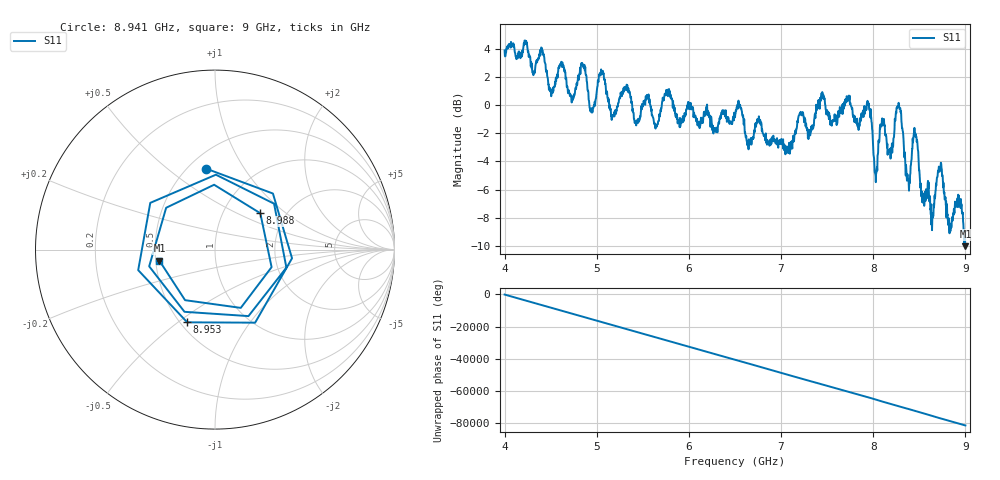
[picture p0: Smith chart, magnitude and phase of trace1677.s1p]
! Created with skrf 1.8.0 (http://scikit-rf.org).
# Hz S RI R 50.0
!freq ReS11 ImS11
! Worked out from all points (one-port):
!   1601 points, 4 GHz to 9 GHz, reference 50 ohm
!   lowest |S11| = -10.0 dB at 9 GHz (marker M1), VSWR 1.92, Z = 26.2 - j3.62 ohm
!   |S11| at or under -10 dB: 8.999861 GHz to end of sweep
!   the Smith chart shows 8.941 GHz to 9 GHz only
!   S11 on the Smith chart (normalised r, x): 8.941 GHz: 0.61, +0.69; 8.953 GHz: 0.54, -0.54; 8.988 GHz: 1.49, +0.68; 9 GHz: 0.52, -0.07
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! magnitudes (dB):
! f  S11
! 4 GHz  3.9
! 4.406 GHz  4.0
! 4.506 GHz  0.6
! 4.625 GHz  3.0
! 4.731 GHz  0.5
! 4.853 GHz  2.8
! 4.944 GHz  -0.5
! 5.05 GHz  2.2
! 5.169 GHz  -0.8
! 5.25 GHz  0.5
! 5.875 GHz  -0.9
! 6.5 GHz  -0.9
! 7.125 GHz  -2.5
! 7.75 GHz  0.1
! 7.953 GHz  0.0
! 8.028 GHz  -5.5
! 8.094 GHz  -1.1
! 8.181 GHz  -3.1
! 8.278 GHz  0.1
! 8.375 GHz  -5.2
! 8.453 GHz  -2.2
! 8.634 GHz  -7.8
! 8.725 GHz  -4.5
! 8.828 GHz  -9.1
! 8.941 GHz  -6.9
! 8.953 GHz  -7.3
! 8.988 GHz  -9.8
! 9 GHz  -10.0
